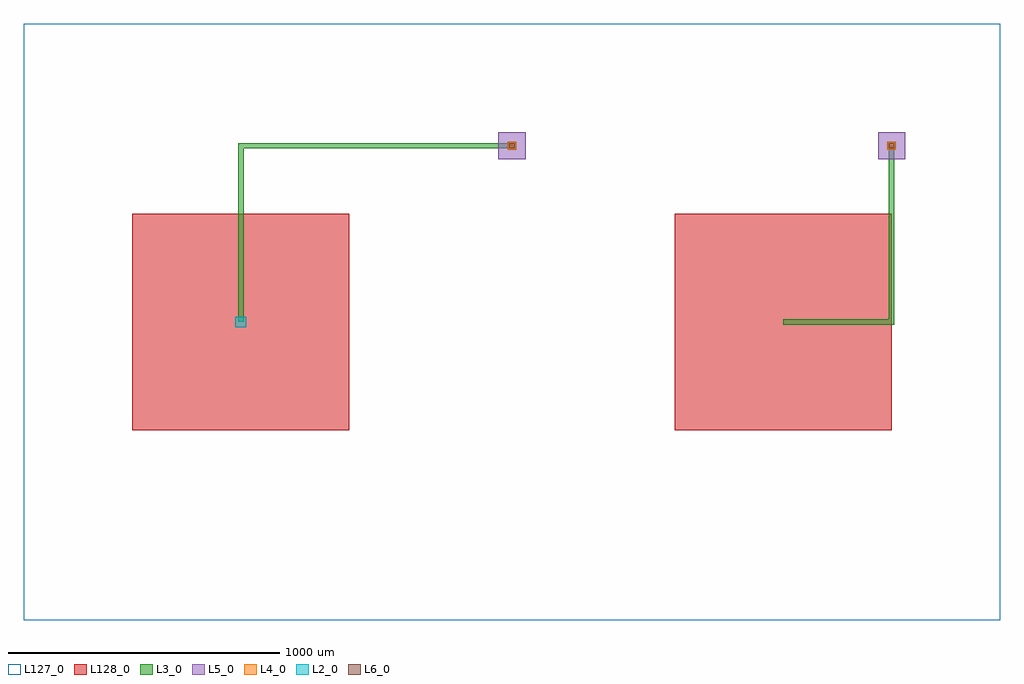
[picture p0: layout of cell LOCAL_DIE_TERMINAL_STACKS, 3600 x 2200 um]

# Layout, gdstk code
import gdstk
lib = gdstk.Library(unit=1e-6, precision=1e-09)
def R(c, l, rs):  # rectangles x0, y0, x1, y1
    for r in rs: c.add(gdstk.rectangle(r[:2], r[2:], *l))
L2_0 = (2, 0)
L3_0 = (3, 0)
L4_0 = (4, 0)
L5_0 = (5, 0)
L6_0 = (6, 0)
L127_0 = (127, 0)
L128_0 = (128, 0)

local_die_terminal_stack = lib.new_cell('LOCAL_DIE_TERMINAL_STACKS')
R(local_die_terminal_stack, L2_0, [(-1020,-20,-980,20)])
R(local_die_terminal_stack, L4_0, [(-15,635,15,665), (1385,635,1415,665)])
R(local_die_terminal_stack, L5_0, [(-50,600,50,700), (1350,600,1450,700)])
R(local_die_terminal_stack, L6_0, [(-10,640,10,660), (1390,640,1410,660)])
R(local_die_terminal_stack, L127_0, [(-1800,-1100,1800,1100)])
R(local_die_terminal_stack, L128_0, [(-1400,-400,-600,400), (600,-400,1400,400)])
local_die_terminal_stack.add(gdstk.FlexPath([(-1000,0),(-1000,650),(0,650)], 20, ends="flush", simple_path=True, layer=3, datatype=0))  # L3_0
local_die_terminal_stack.add(gdstk.FlexPath([(1000,0),(1400,0),(1400,650)], 20, ends="flush", simple_path=True, layer=3, datatype=0))  # L3_0

lib.write_gds('LOCAL_DIE_TERMINAL_STACKS.gds')
